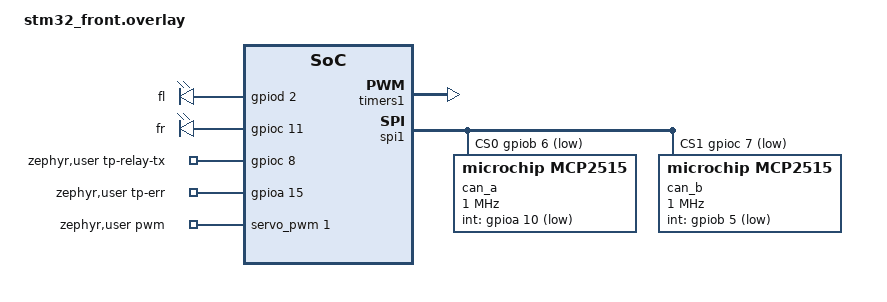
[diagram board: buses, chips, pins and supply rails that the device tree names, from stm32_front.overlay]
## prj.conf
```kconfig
CONFIG_GPIO=y
CONFIG_PRINTK=y
CONFIG_SENSOR=y
CONFIG_PWM=y
CONFIG_FPU=y
CONFIG_ADC=y

CONFIG_CAN=y
CONFIG_SPI=y
CONFIG_SCHED_DEADLINE=y
CONFIG_MAIN_THREAD_PRIORITY=3
CONFIG_TIMESLICING=n

CONFIG_SERIAL=y
CONFIG_UART_INTERRUPT_DRIVEN=y
CONFIG_RING_BUFFER=y

CONFIG_CONSOLE=y
CONFIG_UART_CONSOLE=y
CONFIG_USE_SEGGER_RTT=n
```

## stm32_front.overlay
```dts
/*
 * STM32 front (N2, steering zone) on nucleo_f401re
 *
 * Contents: dual MCP2515 CAN on SPI1 (unchanged from nucleo_f401re.overlay),
 * servo PWM, FL / FR blinker LEDs, RELAY_TX and ERR test points.
 *
 * Deliberately NOT carried over from app.overlay: encoders, motor PWM, ADC
 * current sensing, usart1 move (PA10 is the CAN A INT line here), i2c1,
 * pwm2, and the CAN_RX/CAN_TX/DEG test points.
 *
 * Pin changes versus the team spreadsheet (front column), and why:
 *   SRV      PC11 -> PA8   PC11 has no timer output on the F401, so it cannot do PWM
 *   FR       PA13 -> PC11  PA13 is SWDIO (debug), driving it as GPIO kills SWD
 *   RELAY_TX PA14 -> PC8   PA14 is SWCLK (debug), same problem
 * Update the spreadsheet / test-point board to match.
 */

/ {
	aliases {
		can-a = &can_a;
		can-b = &can_b;
	};

	/* front blinkers */
	blinkers {
		compatible = "gpio-leds";
		fl: fl { gpios = <&gpiod 2 GPIO_ACTIVE_HIGH>; };    /* PD2,  spreadsheet row 10 */
		fr: fr { gpios = <&gpioc 11 GPIO_ACTIVE_HIGH>; };   /* PC11, spreadsheet said PA13 */
	};

	zephyr,user {
		/* 0: steering servo on TIM1_CH1 */
		pwms = <&servo_pwm 1 PWM_MSEC(20) PWM_POLARITY_NORMAL>;

		/* scope test point: toggles when the relay queues a forwarded frame */
		tp-relay-tx-gpios = <&gpioc 8 GPIO_ACTIVE_HIGH>;    /* PC8, spreadsheet said PA14 */
		/* high while this zone is in the error state */
		tp-err-gpios = <&gpioa 15 GPIO_ACTIVE_HIGH>;        /* PA15, spreadsheet row 13 */
	};
};

/* the board file puts i2c3 on PA8, which the servo needs */
&i2c3 { status = "disabled"; };

/* servo on PA8 (D7). prescaler makes the timer count at 1 MHz so a 20 ms
 * period fits in the 16-bit counter (assumes 84 MHz timer clock) */
&timers1 {
	status = "okay";
	st,prescaler = <83>;

	servo_pwm: pwm {
		pinctrl-0 = <&tim1_ch1_pa8>;
		pinctrl-names = "default";
		status = "okay";
	};
};

/* ---- CAN: unchanged from nucleo_f401re.overlay ---- */

&spi1 {
	status = "okay";
	/* index 0 = CAN A on D10 (PB6), index 1 = CAN B on D9 (PC7) */
	cs-gpios = <&gpiob 6 (GPIO_ACTIVE_LOW | GPIO_PULL_UP)>,
		   <&gpioc 7 (GPIO_ACTIVE_LOW | GPIO_PULL_UP)>;

	can_a: mcp2515@0 {
		compatible = "microchip,mcp2515";
		reg = <0>;
		spi-max-frequency = <1000000>;
		int-gpios = <&gpioa 10 GPIO_ACTIVE_LOW>;  /* D2 */
		osc-freq = <16000000>;                    /* match your crystal */
		bitrate = <500000>;
		status = "okay";
	};

	can_b: mcp2515@1 {
		compatible = "microchip,mcp2515";
		reg = <1>;
		spi-max-frequency = <1000000>;
		int-gpios = <&gpiob 5 GPIO_ACTIVE_LOW>;   /* D4 */
		osc-freq = <16000000>;
		bitrate = <500000>;
		status = "okay";
	};
};
```

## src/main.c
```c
#include <zephyr/device.h>
#include <zephyr/devicetree.h>
#include <zephyr/kernel.h>
#include <zephyr/sys/printk.h>

#include "blinker.h"
#include "edf.h"
//#include "control.h"
//#include "current.h"
//#include "inject.h"
#include "io_status.h"
#include "rx.h"
#include "servo.h"
#include "tx.h"

/* 1: keyboard injector over the PA9<->PA10 jumper, 0: real Pi on usart1 */
#define USE_INJECTOR 0

// static const struct device *const pi_uart = DEVICE_DT_GET(DT_NODELABEL(usart1));

static const struct device *const can_dev[2] = {
	DEVICE_DT_GET(DT_NODELABEL(can_a)),
	DEVICE_DT_GET(DT_NODELABEL(can_b)),
};

int main(void)
{
	// printk("front zone boot\n");
	edf_deadline_after_ms(k_current_get(), EDF_MAIN_DEADLINE_MS, EDF_TIE_MAIN);

	int rc = io_status_init();
	if (rc) {
		// printk("GPIO indicator init failed: %d\n", rc);
		return 0;
	}

	if (!device_is_ready(can_dev[0])) {
		// printk("CAN A not ready\n");
		io_status_mark_error();
		return 0;
	}

	if (!device_is_ready(can_dev[1])) {
		// printk("CAN B not ready\n");
		io_status_mark_error();
		return 0;
	}

	/* current zero is measured inside current_init(), so the motors must be
	 * coasting and the servo undriven until it returns */
	if (servo_init()) {
		// printk("peripheral init failed\n");
		io_status_mark_error();
		return 0;
	}
	rc = blinker_init();
	if (rc) {
		// printk("blinker init failed: %d\n", rc);
		io_status_mark_error();
		return 0;
	}
	rc = rx_init();
	if (rc) {
		// printk("RX init failed: %d\n", rc);
		io_status_mark_error();
		return 0;
	}

	rc = tx_start();
	if (rc) {
		// printk("TX init failed: %d\n", rc);
		io_status_mark_error();
		return 0;
	}
#if USE_INJECTOR
	inject_start(); /* TEMP: stands in for the Pi, needs PA9<->PA10 jumper */
#endif

	// printk("front zone up\n");

	while (1) {
		edf_deadline_after_ms(k_current_get(), EDF_MAIN_DEADLINE_MS,
				      EDF_TIE_MAIN);
		k_sleep(K_SECONDS(1));
	}

	return 0;
}
```

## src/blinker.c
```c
#include "blinker.h"

#include <errno.h>

#include <zephyr/device.h>
#include <zephyr/devicetree.h>
#include <zephyr/drivers/gpio.h>
#include <zephyr/kernel.h>
#include <zephyr/sys/atomic.h>
#include <zephyr/sys/util.h>

#include "io_status.h"
#include "edf.h"
#include "protocol.h"

#define ERROR_BLINK_ON_MS 500 /* R2.4: 1 Hz +-10 % */
#define ERROR_BLINK_OFF_MS 500
#define BLINK_TICK_MS 10
/* No-RPi hazard blink: phase-locked to the front zone's 20 ms heartbeat seq.
 * The 8-bit seq is cut into 10 half periods of 25.6 beats (25 or 26 beats,
 * 500 or 520 ms, ~0.98 Hz). 10 is even, so the phase also carries across the
 * seq wrap with no long half period. Both zones flip when that heartbeat is
 * sent / received, so the edges match to well under 1 ms.
 */
#define HAZARD_HALVES_PER_WRAP 10
#define HAZARD_SYNC_STALE_MS 100 /* 5 missed heartbeats: free-run instead */
#define BLINK_THREAD_STACK_SIZE 1024

static const struct gpio_dt_spec fl = GPIO_DT_SPEC_GET(DT_NODELABEL(fl), gpios);
static const struct gpio_dt_spec fr = GPIO_DT_SPEC_GET(DT_NODELABEL(fr), gpios);

static atomic_t remote_led_mask;
static K_MUTEX_DEFINE(led_mutex);
static atomic_t hazard_phase_on;
static atomic_t hazard_sync_valid;
static atomic_t hazard_sync_ms;
/* free-run fallback state, only touched under led_mutex */
static bool free_run_on;
static int64_t free_run_next_ms;

static int set_leds(bool left, bool right)
{
	int rc = gpio_pin_set_dt(&fl, left);

	if (rc) {
		io_status_mark_error();
		// printk("Front-left blinker GPIO failed: %d\n", rc);
		return rc;
	}
	rc = gpio_pin_set_dt(&fr, right);
	if (rc) {
		io_status_mark_error();
		// printk("Front-right blinker GPIO failed: %d\n", rc);
	}

	return rc;
}

/* Called from the BLINKER rx handler and the blink thread; the lock stops
 * the thread from writing a stale mask over a fresh one.
 */
static void apply_remote_mask(void)
{
	k_mutex_lock(&led_mutex, K_FOREVER);
	uint8_t led_mask = atomic_get(&remote_led_mask);

	(void)set_leds((led_mask & BIT(0)) != 0, (led_mask & BIT(1)) != 0);
	k_mutex_unlock(&led_mutex);
}

static bool hazard_synced(void)
{
	return atomic_get(&hazard_sync_valid) &&
	       (uint32_t)(k_uptime_get_32() - (uint32_t)atomic_get(&hazard_sync_ms)) <
		       HAZARD_SYNC_STALE_MS;
}

/* Write the no-RPi hazard pattern. Locked so the thread cannot overwrite an
 * edge with a phase it read just before it.
 */
static void apply_hazard_leds(void)
{
	k_mutex_lock(&led_mutex, K_FOREVER);
	bool on;

	if (hazard_synced()) {
		on = atomic_get(&hazard_phase_on);
	} else { /* partner HB gone: free-run */
		int64_t now = k_uptime_get();

		if (now >= free_run_next_ms) {
			free_run_on = !free_run_on;
			free_run_next_ms = now + (free_run_on ? ERROR_BLINK_ON_MS :
								ERROR_BLINK_OFF_MS);
		}
		on = free_run_on;
	}
	(void)set_leds(on, on);
	k_mutex_unlock(&led_mutex);
}

void blinker_hazard_sync(uint8_t hb_seq)
{
	bool on = ((hb_seq * HAZARD_HALVES_PER_WRAP) >> 8) & 1;

	atomic_set(&hazard_sync_ms, k_uptime_get_32());
	atomic_set(&hazard_sync_valid, 1);
	/* a missed edge frame is fixed by the next heartbeat, 20 ms later */
	if (atomic_set(&hazard_phase_on, on) != on &&
	    io_status_blinker_hazard_override()) {
		apply_hazard_leds();
	}
}

static void blinker_thread(void *p1, void *p2, void *p3)
{
	ARG_UNUSED(p1);
	ARG_UNUSED(p2);
	ARG_UNUSED(p3);

	static int dbg_override = -1; /* TEMP debug: print on change only */

	while (1) {
		int ovr = io_status_blinker_hazard_override();

		if (ovr != dbg_override) {
			dbg_override = ovr;
			// printk("FRONT BLK override=%d synced=%d t=%u\n", ovr, hazard_synced(),
			       // k_uptime_get_32());
		}
		if (ovr) {
			apply_hazard_leds();
		} else {
			apply_remote_mask();
		}
		int64_t next = k_uptime_get() + BLINK_TICK_MS;

		edf_deadline_at_uptime_ms(k_current_get(),
					  next + BLINK_TICK_MS,
					  EDF_TIE_BLINKER);
		k_sleep(K_TIMEOUT_ABS_MS(next));
	}
}

K_THREAD_DEFINE(blinker_tid, BLINK_THREAD_STACK_SIZE, blinker_thread,
		NULL, NULL, NULL, EDF_THREAD_PRIORITY, 0, SYS_FOREVER_MS);

int blinker_init(void)
{
	if (!gpio_is_ready_dt(&fl) || !gpio_is_ready_dt(&fr)) {
		return -ENODEV;
	}

	int rc = gpio_pin_configure_dt(&fl, GPIO_OUTPUT_INACTIVE);

	if (rc) {
		return rc;
	}

	rc = gpio_pin_configure_dt(&fr, GPIO_OUTPUT_INACTIVE);
	if (rc) {
		return rc;
	}

	edf_deadline_after_ms(blinker_tid, BLINK_TICK_MS, EDF_TIE_BLINKER);
	k_thread_start(blinker_tid);
	return 0;
}

int blinker_set_message(uint8_t new_state, bool leds_on)
{
	if (new_state > BLINKERS_HAZARD) {
		return -EINVAL;
	}

	uint8_t led_mask = 0;

	switch (new_state) {
	case BLINKERS_OFF:
		led_mask = 0;
		break;
	case BLINKERS_LEFT:
		led_mask = leds_on ? BIT(0) : 0;
		break;
	case BLINKERS_RIGHT:
		led_mask = leds_on ? BIT(1) : 0;
		break;
	case BLINKERS_HAZARD:
		led_mask = leds_on ? (BIT(0) | BIT(1)) : 0;
		break;
	}

	atomic_set(&remote_led_mask, led_mask);
	if (!io_status_blinker_hazard_override()) {
		apply_remote_mask(); /* edge shows now, not on the next 10 ms tick */
	}
	return 0;
}
```

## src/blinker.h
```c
#pragma once
#include <stdbool.h>
#include <stdint.h>

int blinker_init(void);
int blinker_set_message(uint8_t state, bool leds_on);

/* Heartbeat sources the no-RPi hazard blink can phase-lock to. */
enum hb_src { HB_SRC_FRONT, HB_SRC_BACK, HB_SRC_COUNT };

/* Feed a zone's heartbeat seq (the zone's own, once it was actually sent, or the other zone's, when received)
 * to phase-lock the no-RPi hazard blink on both zones. Uses the front's heartbeat while it is alive and the
 * back's when it is not.
 */
void blinker_hazard_sync(enum hb_src src, uint8_t hb_seq);

/* True while BLINKER frames from the RPi are still arriving. */
bool blinker_remote_fresh(void);
```

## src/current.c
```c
#include <zephyr/kernel.h>
#include <zephyr/drivers/adc.h>
#include "current.h"

/* acs712elc-05b */
#define MV_PER_AMP 185
/* averaging smooths out pwm ripple at the cost of a little time per read */
#define SAMPLES 8

static const struct adc_dt_spec ch[CUR_COUNT] = {
	ADC_DT_SPEC_GET_BY_IDX(DT_PATH(zephyr_user), 0),
	ADC_DT_SPEC_GET_BY_IDX(DT_PATH(zephyr_user), 1),
	ADC_DT_SPEC_GET_BY_IDX(DT_PATH(zephyr_user), 2),
};

static int zero_mv[CUR_COUNT];

static int read_mv(const struct adc_dt_spec *spec)
{
	uint16_t buf;
	int32_t sum = 0;
	struct adc_sequence seq = {
		.buffer = &buf,
		.buffer_size = sizeof(buf),
	};

	adc_sequence_init_dt(spec, &seq);
	for (int i = 0; i < SAMPLES; i++) {
		adc_read_dt(spec, &seq);
		sum += buf;
	}

	int32_t mv = sum / SAMPLES;
	adc_raw_to_millivolts_dt(spec, &mv);
	return mv;
}

int current_init(void)
{
	for (int i = 0; i < CUR_COUNT; i++) {
		if (!adc_is_ready_dt(&ch[i])) {
			// printk("adc not ready\n");
			return -ENODEV;
		}
		int err = adc_channel_setup_dt(&ch[i]);
		if (err) {
			// printk("channel %d setup failed: %d\n", ch[i].channel_id, err);
			return err;
		}
	}

	/* each sensor sits near 2.5 v at 0 a but not exactly, so take the zero at boot while nothing is running */
	for (int i = 0; i < CUR_COUNT; i++) {
		zero_mv[i] = read_mv(&ch[i]);
	}
	// printk("current zero: L %d  R %d  S %d mV\n",
	       // zero_mv[CUR_LEFT], zero_mv[CUR_RIGHT], zero_mv[CUR_SERVO]);
	return 0;
}

void current_read_ma(int ma[CUR_COUNT])
{
	for (int i = 0; i < CUR_COUNT; i++) {
		ma[i] = (read_mv(&ch[i]) - zero_mv[i]) * 1000 / MV_PER_AMP;
	}
}
```

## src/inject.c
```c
#include "inject.h"

#include <zephyr/device.h>
#include <zephyr/devicetree.h>
#include <zephyr/drivers/uart.h>
#include <zephyr/kernel.h>
#include <zephyr/sys/printk.h>

#include "control.h"
#include "protocol.h"

#define SEND_PERIOD_MS 20
#define BTN_HOLD_TICKS 5 /* a "press" lasts 100 ms, like a real button */

static const struct device *const con = DEVICE_DT_GET(DT_CHOSEN(zephyr_console));
static K_MUTEX_DEFINE(inject_uart_tx_mutex);

static void uart_send_frame(const uint8_t *frame, size_t len)
{
	k_mutex_lock(&inject_uart_tx_mutex, K_FOREVER);
	for (size_t i = 0; i < len; i++) {
		uart_poll_out(con, frame[i]);
	}
	k_mutex_unlock(&inject_uart_tx_mutex);
}

static void print_help(void)
{
	// printk("\nsteer:    a/d -/+50   c center\n");
	// printk("throttle: w/s +/-100  x zero\n");
	// printk("brake:    space toggle\n");
	// printk("blinker:  q left  e right (button press)\n");
	// printk("link:     l cut/restore the frame stream (link-loss test)\n");
	// printk("other:    ? help\n\n");
}

static void inject_thread(void *p1, void *p2, void *p3)
{
	ARG_UNUSED(p1);
	ARG_UNUSED(p2);
	ARG_UNUSED(p3);

	int steering = WHEEL_STEER_MAX / 2;
	int throttle = 0;
	int brake = 0;
	int left_hold = 0, right_hold = 0;
	bool link_cut = false;
	uint8_t seq = 0;
	unsigned char c;

	print_help();

	while (1) {
		while (uart_poll_in(con, &c) == 0) {
			switch (c) {
			case 'a':
				steering = CLAMP(steering - 50, 0, WHEEL_STEER_MAX);
				break;
			case 'd':
				steering = CLAMP(steering + 50, 0, WHEEL_STEER_MAX);
				break;
			case 'c':
				steering = WHEEL_STEER_MAX / 2;
				break;
			case 'w':
				throttle = MIN(throttle + 100, WHEEL_THROTTLE_MAX);
				break;
			case 's':
				throttle = MAX(throttle - 100, 0);
				break;
			case 'x':
				throttle = 0;
				break;
			case ' ':
				brake = brake ? 0 : -WIRE_AXIS_MAX; /* negative = pressed, full brake */
				break;
			case 'q':
				left_hold = BTN_HOLD_TICKS;
				break;
			case 'e':
				right_hold = BTN_HOLD_TICKS;
				break;
			case 'l':
				link_cut = !link_cut;
				// printk("> frame stream %s\n", link_cut ? "CUT" : "restored");
				break;
			case '?':
				print_help();
				break;
			}
		}

		if (!link_cut) {
			uint8_t data[8] = {0};

			/* the injector's steering/throttle are 0-based (0 = left, 450 = center;
			 * 0 = idle, up = faster); convert to the wire convention:
			 * steering signed around 0 (negative = left), throttle negative = faster */
			int16_t wire_steer = (steering - STEER_CENTER) * WIRE_AXIS_MAX / STEER_CENTER;
			int16_t wire_thr = -throttle * WIRE_AXIS_MAX / WHEEL_THROTTLE_MAX;

			data[0] = (wire_steer >> 8) & 0xFF;
			data[1] = wire_steer & 0xFF;
			data[2] = (wire_thr >> 8) & 0xFF;
			data[3] = wire_thr & 0xFF;
			data[4] = (brake >> 8) & 0xFF;
			data[5] = brake & 0xFF;
			data[6] = (left_hold ? 0x80 : 0) | (right_hold ? 0x01 : 0);

			uint8_t frame[CMD_FRAME_LEN];

			encode_frame(MSG_WHEEL_STATE, seq++, data, frame);
			uart_send_frame(frame, CMD_FRAME_LEN);
		}

		if (left_hold) {
			left_hold--;
		}
		if (right_hold) {
			right_hold--;
		}

		k_sleep(K_MSEC(SEND_PERIOD_MS));
	}
}

#define INJECT_STACK_SIZE 1024
#define INJECT_PRIORITY   7

K_THREAD_DEFINE(inject_tid, INJECT_STACK_SIZE, inject_thread, NULL, NULL, NULL,
		INJECT_PRIORITY, 0, SYS_FOREVER_MS);

void inject_start(void)
{
	k_thread_start(inject_tid);
}
```

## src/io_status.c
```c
#include "io_status.h"

#include <errno.h>

#include <zephyr/device.h>
#include <zephyr/devicetree.h>
#include <zephyr/drivers/gpio.h>
#include <zephyr/kernel.h>
#include <zephyr/sys/atomic.h>
#include <zephyr/sys/printk.h>
#include <zephyr/sys/util.h>

#include "protocol.h"
#include "edf.h"
#include "state.h"

#define LINK_WATCHDOG_PERIOD_MS 10
#define LINK_WATCHDOG_STACK_SIZE 512

static const struct gpio_dt_spec can_degraded[2] = {
	GPIO_DT_SPEC_GET(DT_PATH(zephyr_user), can_a_degraded_gpios),
	GPIO_DT_SPEC_GET(DT_PATH(zephyr_user), can_b_degraded_gpios),
};
static const struct gpio_dt_spec can_rx[2] = {
	GPIO_DT_SPEC_GET(DT_PATH(zephyr_user), can_a_rx_gpios),
	GPIO_DT_SPEC_GET(DT_PATH(zephyr_user), can_b_rx_gpios),
};
static const struct gpio_dt_spec can_tx[2] = {
	GPIO_DT_SPEC_GET(DT_PATH(zephyr_user), can_a_tx_gpios),
	GPIO_DT_SPEC_GET(DT_PATH(zephyr_user), can_b_tx_gpios),
};
static const struct gpio_dt_spec error_pin =
	GPIO_DT_SPEC_GET(DT_PATH(zephyr_user), tp_err_gpios);

static atomic_t degraded_mask;
static atomic_t error_active;

static void link_watchdog_thread(void *p1, void *p2, void *p3)
{
	ARG_UNUSED(p1);
	ARG_UNUSED(p2);
	ARG_UNUSED(p3);

	int64_t next = k_uptime_get();

	while (1) {
		if (state_zone_control_missing_on_both_buses() &&
		    state_get_zone_state() != ZONE_STATE_FAILSAFE_LINK_LOST) {
			io_status_enter_error(ZONE_STATE_FAILSAFE_LINK_LOST);
		}

		next += LINK_WATCHDOG_PERIOD_MS;
		edf_deadline_at_uptime_ms(k_current_get(),
					  next + LINK_WATCHDOG_PERIOD_MS,
					  EDF_TIE_CAN_RX);
		k_sleep(K_TIMEOUT_ABS_MS(next));
	}
}

K_THREAD_DEFINE(link_watchdog_tid, LINK_WATCHDOG_STACK_SIZE,
		link_watchdog_thread, NULL, NULL, NULL,
		EDF_THREAD_PRIORITY, 0, SYS_FOREVER_MS);

static int configure_output(const struct gpio_dt_spec *pin)
{
	if (!gpio_is_ready_dt(pin)) {
		return -ENODEV;
	}

	return gpio_pin_configure_dt(pin, GPIO_OUTPUT_INACTIVE);
}

int io_status_init(void)
{
	atomic_clear(&degraded_mask);
	atomic_clear(&error_active);

	int rc = configure_output(&error_pin);

	if (rc) {
		return rc;
	}

	for (size_t i = 0; i < ARRAY_SIZE(can_degraded); i++) {
		rc = configure_output(&can_degraded[i]);

		if (rc) {
			io_status_mark_error();
			return rc;
		}
		rc = configure_output(&can_rx[i]);
		if (rc) {
			io_status_mark_error();
			return rc;
		}
		rc = configure_output(&can_tx[i]);
		if (rc) {
			io_status_mark_error();
			return rc;
		}
	}

	io_status_enter_error(ZONE_STATE_FAILSAFE_LINK_LOST);
	edf_deadline_after_ms(link_watchdog_tid, LINK_WATCHDOG_PERIOD_MS,
			      EDF_TIE_CAN_RX);
	k_thread_start(link_watchdog_tid);
	return 0;
}

void io_status_enter_error(uint8_t zone_state)
{
	static int dbg_last = -1; /* TEMP debug: print on change only */

	if (dbg_last != zone_state) {
		dbg_last = zone_state;
		// printk("DBG enter_error: %s caller=%p\n", zone_state_name(zone_state),
		       // __builtin_return_address(0));
	}
	atomic_set(&error_active, 1);
	state_set_zone_state(zone_state);
	(void)gpio_pin_set_dt(&error_pin, 1);
}

void io_status_clear_error(void)
{
	atomic_clear(&error_active);
	state_set_zone_state(ZONE_STATE_NORMAL);
	int rc = gpio_pin_set_dt(&error_pin, 0);

	if (rc) {
		io_status_enter_error(ZONE_STATE_FAILSAFE_RPI_ERROR);
		return;
	}
}

bool io_status_error_active(void)
{
	return atomic_get(&error_active) != 0;
}

void io_status_note_control_received(void)
{
	io_status_clear_error();
}

void io_status_mark_error(void)
{
	// printk("DBG mark_error caller=%p\n", __builtin_return_address(0));
	io_status_enter_error(ZONE_STATE_FAILSAFE_RPI_ERROR);
}

static int toggle_pin(const struct gpio_dt_spec *pin)
{
	int rc = gpio_pin_toggle_dt(pin);

	if (rc) {
		io_status_mark_error();
	}

	return rc;
}

int io_status_can_rx(uint8_t bus)
{
	if (bus >= ARRAY_SIZE(can_rx)) {
		io_status_mark_error();
		return -EINVAL;
	}

	return toggle_pin(&can_rx[bus]);
}

int io_status_can_tx(uint8_t bus)
{
	if (bus >= ARRAY_SIZE(can_tx)) {
		io_status_mark_error();
		return -EINVAL;
	}

	return toggle_pin(&can_tx[bus]);
}

int io_status_set_can_degraded(uint8_t bus, bool degraded)
{
	if (bus >= ARRAY_SIZE(can_degraded)) {
		io_status_mark_error();
		return -EINVAL;
	}

	atomic_val_t bit = BIT(bus);

	if (degraded) {
		atomic_or(&degraded_mask, bit);
	} else {
		atomic_and(&degraded_mask, ~bit);
	}

	int rc = gpio_pin_set_dt(&can_degraded[bus], degraded);

	if (rc) {
		io_status_enter_error(ZONE_STATE_FAILSAFE_RPI_ERROR);
		return rc;
	}
	atomic_val_t degraded_flags = atomic_get(&degraded_mask);

	if (degraded_flags == (BIT(0) | BIT(1))) {
		io_status_enter_error(ZONE_STATE_FAILSAFE_LINK_LOST);
	} else if (state_get_zone_state() == ZONE_STATE_FAILSAFE_LINK_LOST) {
		io_status_clear_error();
	}

	return rc;
}

bool io_status_is_can_degraded(uint8_t bus)
{
	return bus >= ARRAY_SIZE(can_degraded) ||
	       (atomic_get(&degraded_mask) & BIT(bus)) != 0;
}

/* Hazard phase source:
 *  - RPi alive (zone-control messages on either bus): follow its BLINKER messages, so every zone shows its phase
 *  - RPi dead: show the pattern locked to the front zone's heartbeat seq (blinker_hazard_sync), so the
 *    zones agree with each other. Free-runs if that heartbeat is gone too.
 * Our own CAN degradation is deliberately not a condition: it must not make this zone leave the RPi's phase.
 */
bool io_status_blinker_hazard_override(void)
{
	return state_zone_control_missing_on_both_buses();
}
```

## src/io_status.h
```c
#ifndef IO_STATUS_H_
#define IO_STATUS_H_

#include <stdbool.h>
#include <stdint.h>

int io_status_init(void);
int io_status_can_rx(uint8_t bus);
int io_status_can_tx(uint8_t bus);
int io_status_relay_tx(void);
int io_status_set_can_degraded(uint8_t bus, bool degraded);
bool io_status_is_can_degraded(uint8_t bus);
void io_status_enter_error(uint8_t zone_state);
void io_status_clear_error(void);
bool io_status_error_active(void);
void io_status_note_control_received(void);
void io_status_mark_error(void);
bool io_status_blinker_hazard_override(void);

#endif /* IO_STATUS_H_ */
```

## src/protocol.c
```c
#include "protocol.h"

#include <stddef.h>

static int16_t decode_i16_be(uint8_t msb, uint8_t lsb)
{
	uint16_t value = ((uint16_t)msb << 8) | lsb;

	return value <= INT16_MAX ? (int16_t)value : (int16_t)((int32_t)value - 65536);
}

bool is_known_msg_type(uint16_t id)
{
	switch (id) {
	case MSG_ZONE_CTRL:
	case MSG_HB_STEERING:
	case MSG_HB_DRIVETRAIN:
	case MSG_FORCE_FEEDBACK:
	case MSG_BLINKERS:
		return true;
	default:
		return false;
	}
}

uint8_t message_dlc(uint16_t id)
{
	switch (id) {
	case MSG_ZONE_CTRL:
		return MSG_ZONE_CTRL_DLC;
	case MSG_HB_STEERING:
		return MSG_HEARTBEAT_DLC;
	case MSG_HB_DRIVETRAIN:
		return MSG_HB_DRIVETRAIN_DLC;
	case MSG_FORCE_FEEDBACK:
		return MSG_FORCE_FEEDBACK_DLC;
	case MSG_BLINKERS:
		return MSG_BLINKERS_DLC;
	default:
		return 0;
	}
}

const char *zone_state_name(uint8_t zone_state)
{
	switch (zone_state) {
	case ZONE_STATE_NORMAL:
		return "NORMAL";
	case ZONE_STATE_FAILSAFE_LINK_LOST:
		return "FAILSAFE_LINK_LOST";
	case ZONE_STATE_FAILSAFE_SELF_TEST:
		return "FAILSAFE_SELF_TEST";
	case ZONE_STATE_FAILSAFE_BAD_CMD:
		return "FAILSAFE_BAD_CMD";
	case ZONE_STATE_FAILSAFE_RPI_ERROR:
		return "FAILSAFE_RPI_ERROR";
	default:
		return "UNKNOWN";
	}
}

bool wheel_frame_valid(const uint8_t payload[CAN_MAX_PAYLOAD_SIZE])
{
	return (payload[0] & CTRL_RESERVED_MASK) == 0;
}

void decode_wheel_state(const uint8_t payload[CAN_MAX_PAYLOAD_SIZE], struct wheel_state *out)
{
	out->left_btn = (payload[0] >> CTRL_BTN_LEFT) & 1;
	out->btn_y = (payload[0] >> CTRL_BTN_Y) & 1;
	out->btn_a = (payload[0] >> CTRL_BTN_A) & 1;
	out->self_test_btn = (payload[0] >> CTRL_BTN_B) & 1;
	out->right_btn = (payload[0] >> CTRL_BTN_RIGHT) & 1;
	out->brake = decode_i16_be(payload[1], payload[2]);
	out->throttle = decode_i16_be(payload[3], payload[4]);
	out->steering = decode_i16_be(payload[5], payload[6]);
	out->seq = payload[7];
}

void decode_heartbeat(const uint8_t payload[CAN_MAX_PAYLOAD_SIZE], struct heartbeat *out)
{
	out->can_a_degraded = (payload[0] >> HB_CAN_A_DEGRADED) & 1;
	out->can_b_degraded = (payload[0] >> HB_CAN_B_DEGRADED) & 1;
	out->seq = payload[1];
}

void decode_drivetrain_heartbeat(const uint8_t payload[CAN_MAX_PAYLOAD_SIZE],
				 struct heartbeat *out)
{
	decode_heartbeat(payload, out);
	out->seq = payload[HB_DRIVETRAIN_SEQ];
}

void encode_heartbeat(uint8_t seq, bool can_a_degraded, bool can_b_degraded,
		      uint8_t payload[CAN_MAX_PAYLOAD_SIZE])
{
	for (size_t i = 0; i < CAN_MAX_PAYLOAD_SIZE; i++) {
		payload[i] = 0;
	}

	payload[0] = (can_a_degraded << HB_CAN_A_DEGRADED) |
		     (can_b_degraded << HB_CAN_B_DEGRADED);
	payload[1] = seq;
}

void decode_force_feedback(const uint8_t payload[CAN_MAX_PAYLOAD_SIZE],
			   struct force_feedback *out)
{
	out->force = decode_i16_be(payload[1], payload[0]);
	out->seq = payload[2];
}

bool decode_blinkers(const uint8_t payload[CAN_MAX_PAYLOAD_SIZE],
		     struct blinkers_message *out)
{
	if (payload[0] > BLINKERS_HAZARD || payload[1] > 1) {
		return false;
	}

	out->state = payload[0];
	out->leds_on = payload[1] != 0;
	out->seq = payload[2];
	return true;
}

uint8_t message_sequence(uint16_t id, const uint8_t payload[CAN_MAX_PAYLOAD_SIZE])
{
	switch (id) {
	case MSG_ZONE_CTRL:
		return payload[7];
	case MSG_HB_STEERING:
		return payload[1];
	case MSG_HB_DRIVETRAIN:
		return payload[HB_DRIVETRAIN_SEQ];
	case MSG_FORCE_FEEDBACK:
	case MSG_BLINKERS:
		return payload[2];
	default:
		return 0;
	}


}
```

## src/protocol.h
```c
#ifndef PROTOCOL_H_
#define PROTOCOL_H_

#include <stdbool.h>
#include <stdint.h>

#define MSG_ZONE_CTRL      0x01
#define MSG_HB_STEERING    0x03
#define MSG_HB_DRIVETRAIN  0x04
#define MSG_FORCE_FEEDBACK 0x05
#define MSG_BLINKERS       0x06

#define CAN_MAX_PAYLOAD_SIZE 8
#define MSG_ZONE_CTRL_DLC 8
#define MSG_HEARTBEAT_DLC 2
#define MSG_HB_DRIVETRAIN_DLC 4
#define HB_DRIVETRAIN_FORCE_MSB 1
#define HB_DRIVETRAIN_FORCE_LSB 2
#define HB_DRIVETRAIN_SEQ 3
#define MSG_FORCE_FEEDBACK_DLC 3
#define MSG_BLINKERS_DLC 3

#define CTRL_BTN_LEFT       7
#define CTRL_BTN_Y          6
#define CTRL_BTN_A          4
#define CTRL_BTN_B          5
#define CTRL_BTN_X          3
#define CTRL_BTN_RIGHT      0
#define CTRL_RESERVED_MASK  0x06

#define HB_CAN_A_DEGRADED   7
#define HB_CAN_B_DEGRADED   0

enum blinker_state {
	BLINKERS_OFF = 0,
	BLINKERS_LEFT = 1,
	BLINKERS_RIGHT = 2,
	BLINKERS_HAZARD = 3,
};

enum zone_state {
	ZONE_STATE_NORMAL = 0,
	ZONE_STATE_FAILSAFE_LINK_LOST = 1,
	ZONE_STATE_FAILSAFE_SELF_TEST = 2,
	ZONE_STATE_FAILSAFE_BAD_CMD = 3,
	ZONE_STATE_FAILSAFE_RPI_ERROR = 4,
};

struct wheel_state {
	uint8_t seq;
	int16_t steering;
	int16_t throttle;
	int16_t brake;
	bool left_btn;
	bool right_btn;
	bool self_test_btn;
	bool btn_a;
	bool btn_y;
};

struct heartbeat {
	uint8_t seq;
	bool can_a_degraded;
	bool can_b_degraded;
};

struct force_feedback {
	uint8_t seq;
	int16_t force;
};

struct blinkers_message {
	uint8_t state;
	bool leds_on;
	uint8_t seq;
};

bool is_known_msg_type(uint16_t id);
uint8_t message_dlc(uint16_t id);
const char *zone_state_name(uint8_t zone_state);

bool wheel_frame_valid(const uint8_t payload[CAN_MAX_PAYLOAD_SIZE]);
void decode_wheel_state(const uint8_t payload[CAN_MAX_PAYLOAD_SIZE], struct wheel_state *out);
void decode_heartbeat(const uint8_t payload[CAN_MAX_PAYLOAD_SIZE], struct heartbeat *out);
void decode_drivetrain_heartbeat(const uint8_t payload[CAN_MAX_PAYLOAD_SIZE],
				 struct heartbeat *out);
void encode_heartbeat(uint8_t seq, bool can_a_degraded, bool can_b_degraded,
		      uint8_t payload[CAN_MAX_PAYLOAD_SIZE]);
void decode_force_feedback(const uint8_t payload[CAN_MAX_PAYLOAD_SIZE],
			   struct force_feedback *out);
bool decode_blinkers(const uint8_t payload[CAN_MAX_PAYLOAD_SIZE],
		     struct blinkers_message *out);
uint8_t message_sequence(uint16_t id, const uint8_t payload[CAN_MAX_PAYLOAD_SIZE]);

#endif /* PROTOCOL_H_ */
```

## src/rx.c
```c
#include "rx.h"

#include <errno.h>

#include <zephyr/device.h>
#include <zephyr/drivers/can.h>
#include <zephyr/kernel.h>
#include <zephyr/sys/atomic.h>
#include <zephyr/sys/printk.h>

#include "blinker.h"
#include "edf.h"
#include "io_status.h"
#include "protocol.h"
#include "servo.h"
#include "state.h"

#define RX_QUEUE_DEPTH 256 /* a Pi burst is ~40 ZONE_CTRL frames per bus */
#define WHEEL_STEER_MAX 900
#define BUTTON_B_DOUBLE_PRESS_MS 500
#define RELAY_DUPLICATE_WINDOW_MS LINK_TIMEOUT_MS

extern const k_tid_t rx_tid;

static const struct device *const can_dev[2] = {
	DEVICE_DT_GET(DT_NODELABEL(can_a)),
	DEVICE_DT_GET(DT_NODELABEL(can_b)),
};

struct rx_item {
	uint8_t bus;              /* 0 = A, 1 = B */
	struct can_frame frame;
};

K_MSGQ_DEFINE(rx_q, sizeof(struct rx_item), RX_QUEUE_DEPTH, 4);
static atomic_t rx_overflow_reported;

/* Runs in the MCP2515 driver's work thread (not an ISR). Keep it short:
 * copy the frame and hand it to our own thread. */
static void can_rx_cb(const struct device *dev, struct can_frame *frame,
		      void *user_data)
{
	ARG_UNUSED(dev);

	struct rx_item it = { .bus = (uint8_t)(uintptr_t)user_data, .frame = *frame };

	if (io_status_can_rx(it.bus)) {
		io_status_mark_error();
	}
	edf_deadline_after_ms(rx_tid, 5, EDF_TIE_CAN_RX);
	if (k_msgq_put(&rx_q, &it, K_NO_WAIT)) {
		if (atomic_cas(&rx_overflow_reported, 0, 1)) {
			// printk("CAN RX software queue full; dropping frames\n");
		}
		/* A dropped frame is not a zone fault: the next ZONE_CTRL replaces it. */
	}
}

struct seen {
	uint16_t id;
	uint8_t seq;
	int64_t seen_ms;
	bool valid;
};

static struct seen seen_tbl[8];
enum message_source {
	SOURCE_COCKPIT,
	SOURCE_STEERING,
	SOURCE_DRIVETRAIN,
	SOURCE_COUNT,
};
static int64_t source_heartbeat_ms[SOURCE_COUNT][2] = {
	{ -(LINK_TIMEOUT_MS + 1), -(LINK_TIMEOUT_MS + 1) },
	{ -(LINK_TIMEOUT_MS + 1), -(LINK_TIMEOUT_MS + 1) },
	{ -(LINK_TIMEOUT_MS + 1), -(LINK_TIMEOUT_MS + 1) },
};
static bool previous_button_b;
static bool button_b_press_pending;
static int64_t button_b_first_press_ms;

static void can_state_changed(const struct device *dev, enum can_state state,
			      struct can_bus_err_cnt err_cnt, void *user_data)
{
	ARG_UNUSED(dev);
	ARG_UNUSED(err_cnt);

	uint8_t bus = (uint8_t)(uintptr_t)user_data;
	bool degraded = state != CAN_STATE_ERROR_ACTIVE;

	if (degraded) {
		// printk("CAN %c degraded: state %d\n", 'A' + bus, state);
	}
	if (io_status_set_can_degraded(bus, degraded)) {
		// printk("Failed to update CAN %c degraded status\n", 'A' + bus);
	}
}

static void handle_button_b(bool pressed)
{
	int64_t now = k_uptime_get();

	if (pressed && !previous_button_b) {
		if (button_b_press_pending &&
		    now - button_b_first_press_ms <= BUTTON_B_DOUBLE_PRESS_MS) {
			button_b_press_pending = false;
			io_status_clear_error();
		} else {
			button_b_press_pending = true;
			button_b_first_press_ms = now;
			io_status_enter_error(ZONE_STATE_FAILSAFE_SELF_TEST);
		}
	} else if (button_b_press_pending &&
		   now - button_b_first_press_ms > BUTTON_B_DOUBLE_PRESS_MS) {
		button_b_press_pending = false;
	}

	previous_button_b = pressed;
}

static int message_source(uint16_t id)
{
	switch (id) {
	case MSG_ZONE_CTRL:
	case MSG_BLINKERS:
		return SOURCE_COCKPIT;
	case MSG_HB_STEERING:
		return SOURCE_STEERING;
	case MSG_HB_DRIVETRAIN:
	case MSG_FORCE_FEEDBACK:
		return SOURCE_DRIVETRAIN;
	default:
		return -1;
	}
}

static void note_source_heartbeat(uint16_t id, uint8_t bus)
{
	int source;

	switch (id) {
	case MSG_ZONE_CTRL:
		source = SOURCE_COCKPIT;
		break;
	case MSG_HB_STEERING:
		source = SOURCE_STEERING;
		break;
	case MSG_HB_DRIVETRAIN:
		source = SOURCE_DRIVETRAIN;
		break;
	default:
		return;
	}

	source_heartbeat_ms[source][bus] = k_uptime_get();
}

static bool is_duplicate(uint16_t id, uint8_t seq)
{
	struct seen *free_slot = NULL;
	int64_t now = k_uptime_get();

	for (int i = 0; i < ARRAY_SIZE(seen_tbl); i++) {
		struct seen *s = &seen_tbl[i];

		if (s->valid && s->id == id) {
			bool dup = s->seq == seq &&
				   now - s->seen_ms < RELAY_DUPLICATE_WINDOW_MS;

			if (!dup) {
				s->seq = seq;
				s->seen_ms = now;
			}
			return dup;
		}
		if (!free_slot && !s->valid) {
			free_slot = s;
		}
	}
	if (free_slot) {
		*free_slot = (struct seen){
			.id = id,
			.seq = seq,
			.seen_ms = now,
			.valid = true,
		};
	}
	return false;
}

static void relay_if_source_bus_only(const struct rx_item *item, int source)
{
	if (source < 0) {
		return;
	}

	uint8_t from_bus = item->bus;
	uint8_t to_bus = 1U - from_bus;
	int64_t now = k_uptime_get();
	bool source_on_ingress =
		now - source_heartbeat_ms[source][from_bus] < LINK_TIMEOUT_MS;
	bool source_on_egress =
		now - source_heartbeat_ms[source][to_bus] < LINK_TIMEOUT_MS;

	if (!source_on_ingress || source_on_egress ||
	    io_status_is_can_degraded(to_bus)) {
		return;
	}

	/* K_NO_WAIT: the MCP2515 driver never fails an un-ACKed frame, so on a dead bus
	 * all 3 TX buffers stay full and a timeout would just stall this thread. */
	int rc = can_send(can_dev[to_bus], &item->frame, K_NO_WAIT, NULL, NULL);

	if (rc) {
		// printk("CAN relay %c->%c failed for 0x%03x: %d\n",
		       // 'A' + from_bus, 'A' + to_bus, item->frame.id, rc);
		(void)io_status_set_can_degraded(to_bus, true);
	}
}

static void handle_zone_control(const uint8_t payload[CAN_MAX_PAYLOAD_SIZE])
{
	struct wheel_state ws;

	decode_wheel_state(payload, &ws);
	state_set_wheel_state(&ws);

	int angle = ((int)ws.steering - INT16_MIN) * WHEEL_STEER_MAX / UINT16_MAX;
	int rc = servo_set_angle(angle);

	if (rc) {
		// printk("Servo PWM update failed: %d\n", rc);
		io_status_mark_error();
	}
	// printk("steer=%d throttle=%d brake=%d left_btn=%d right_btn=%d self_test_btn=%d btn_a=%d btn_y=%d\n",
	//        ws.steering, ws.throttle, ws.brake, ws.left_btn, ws.right_btn,
	//        ws.self_test_btn, ws.btn_a, ws.btn_y);

	handle_button_b(ws.self_test_btn);
}

static void handle_frame(const struct rx_item *item)
{
	const struct can_frame *frame = &item->frame;
	struct heartbeat hb;

	if (!is_known_msg_type(frame->id)) {
		return;
	}

	if (frame->dlc != message_dlc(frame->id) ||
	    (frame->flags & (CAN_FRAME_IDE | CAN_FRAME_RTR))) {
		// printk("Rejecting malformed CAN frame 0x%03x on bus %c\n",
		       // frame->id, 'A' + item->bus);
		io_status_mark_error();
		if (frame->id == MSG_ZONE_CTRL) {
			state_note_bad_cmd();
		}
		return;
	}

	if (frame->id == MSG_ZONE_CTRL) {
		if (!wheel_frame_valid(frame->data)) {
			// printk("Rejecting zone-control frame with reserved flags set\n");
			state_note_bad_cmd();
			return;
		}
		state_note_zone_control(item->bus);
	}

	uint8_t seq = message_sequence(frame->id, frame->data);
	int source = message_source(frame->id);

	note_source_heartbeat(frame->id, item->bus);
	if (is_duplicate(frame->id, seq)) {
		if (frame->id == MSG_ZONE_CTRL) {
			io_status_note_control_received();
		}
		return;
	}
	relay_if_source_bus_only(item, source);

	switch (frame->id) {
	case MSG_ZONE_CTRL:
		handle_zone_control(frame->data);
		break;
	case MSG_HB_STEERING:
		decode_heartbeat(frame->data, &hb);
		state_set_hb_steering(&hb);
		break;
	case MSG_HB_DRIVETRAIN:
		decode_drivetrain_heartbeat(frame->data, &hb);
		state_set_hb_drivetrain(&hb);
		break;
	case MSG_FORCE_FEEDBACK: {
		struct force_feedback feedback;

		decode_force_feedback(frame->data, &feedback);
		state_set_force_feedback(&feedback);
		break;
	}
	case MSG_BLINKERS: {
		struct blinkers_message message;

		if (decode_blinkers(frame->data, &message)) {
			/* TEMP debug: when each BLINKER edge arrives, to compare against the other zone */
			//printk("%s BLK rx t=%u bus=%c state=%u on=%d\n", "FRONT", k_uptime_get_32(),
			       //'A' + item->bus, message.state, message.leds_on);
			int rc = blinker_set_message(message.state, message.leds_on);

			if (rc) {
				// printk("Failed to update front blinkers: %d\n", rc);
				io_status_mark_error();
			}
		} else {
			// printk("Rejecting malformed blinker payload\n");
			io_status_mark_error();
		}
		break;
	}
	default:
		break;
	}

	if (frame->id == MSG_ZONE_CTRL) {
		io_status_note_control_received();
	}
}

static void rx_thread(void *p1, void *p2, void *p3)
{
	struct rx_item it;

	while (1) {
		k_msgq_get(&rx_q, &it, K_FOREVER);
		//printk("rx_thread: received frame 0x%03x on bus %c\n", it.frame.id, 'A' + it.bus);
		handle_frame(&it);
	}
}

#define RX_STACK_SIZE 1024
K_THREAD_DEFINE(rx_tid, RX_STACK_SIZE, rx_thread, NULL, NULL, NULL,
		EDF_THREAD_PRIORITY, 0, 0);

int rx_init(void)
{
	/* All supported standard IDs (0x01-0x06) are in the 0x00-0x07 range. */
	const struct can_filter known_message_range = {
		.id = 0,
		.mask = 0x7F8,
		.flags = 0,
	};

	for (int i = 0; i < 2; i++) {
		if (!device_is_ready(can_dev[i])) {
			return -ENODEV;
		}
		int fid = can_add_rx_filter(can_dev[i], can_rx_cb,
					    (void *)(uintptr_t)i, &known_message_range);
		if (fid < 0) {
			io_status_mark_error();
			return fid;
		}
		can_set_state_change_callback(can_dev[i], can_state_changed,
					      (void *)(uintptr_t)i);
		int rc = can_start(can_dev[i]);

		if (rc && rc != -EALREADY) {
			io_status_mark_error();
			return rc;
		}
		enum can_state state;

		rc = can_get_state(can_dev[i], &state, NULL);
		if (rc) {
			io_status_mark_error();
			return rc;
		}
		if (io_status_set_can_degraded(i, state != CAN_STATE_ERROR_ACTIVE)) {
			return -EIO;
		}
	}
	return 0;
}
```

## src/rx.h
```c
#ifndef RX_H_
#define RX_H_

/* Starts CAN A and CAN B RX filters. The receive thread is auto-started. */
int rx_init(void);

#endif /* RX_H_ */
```

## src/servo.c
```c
#include <zephyr/kernel.h>
#include <zephyr/drivers/pwm.h>
#include "servo.h"

/* steering linkage limits */
#define SERVO_MIN_US 920    /* full left */
#define SERVO_MAX_US 2040   /* full right */
/* lab 1 wheel range */
#define WHEEL_MAX_DEG 900

static const struct pwm_dt_spec servo = PWM_DT_SPEC_GET(DT_PATH(zephyr_user));

int servo_init(void)
{
	if (!pwm_is_ready_dt(&servo)) {
		return -ENODEV;
	}

	return servo_set_angle(WHEEL_MAX_DEG / 2);
}

/* clamp here so nothing can command past the mechanical stops */
int servo_set_us(uint32_t us)
{
	us = CLAMP(us, SERVO_MIN_US, SERVO_MAX_US);
	return pwm_set_pulse_dt(&servo, PWM_USEC(us));
}

/* linear map so the whole wheel range covers the whole linkage range */
int servo_set_angle(int wheel_deg)
{
	wheel_deg = CLAMP(wheel_deg, 0, WHEEL_MAX_DEG);
	return servo_set_us(SERVO_MIN_US +
			    (uint32_t)wheel_deg * (SERVO_MAX_US - SERVO_MIN_US) / WHEEL_MAX_DEG);
}
```

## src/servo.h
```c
#pragma once
#include <stdint.h>

int servo_init(void);
int servo_set_us(uint32_t us);
int servo_set_angle(int wheel_deg);
```
